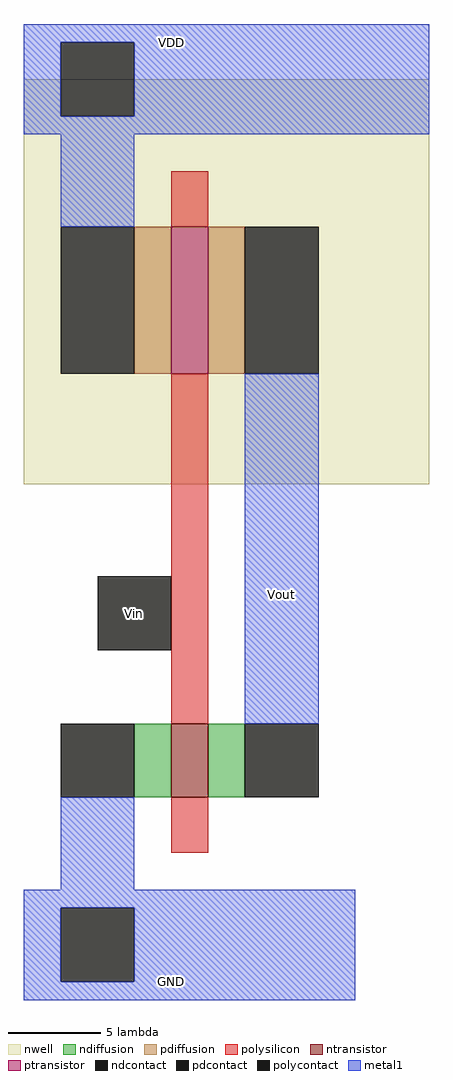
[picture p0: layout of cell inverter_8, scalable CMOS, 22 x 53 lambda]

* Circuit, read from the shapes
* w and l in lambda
.subckt inverter_8 GND VDD Vin Vout
M1 Vout Vin GND VSUBS nfet w=4 l=2
M2 Vout Vin VDD n1 pfet w=8 l=2
.ends

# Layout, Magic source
magic
tech scmos
<< nwell >>
rect -27 -25 -5 -3
<< polysilicon >>
rect -19 -11 -17 -8
rect -19 -38 -17 -19
rect -19 -45 -17 -42
<< ndiffusion >>
rect -21 -42 -19 -38
rect -17 -42 -15 -38
<< pdiffusion >>
rect -21 -19 -19 -11
rect -17 -19 -15 -11
<< metal1 >>
rect -27 -1 -5 0
rect -27 -5 -25 -1
rect -21 -5 -5 -1
rect -27 -6 -5 -5
rect -25 -11 -21 -6
rect -15 -38 -11 -19
rect -25 -47 -21 -42
rect -27 -48 -9 -47
rect -27 -52 -25 -48
rect -21 -52 -9 -48
rect -27 -53 -9 -52
<< ntransistor >>
rect -19 -42 -17 -38
<< ptransistor >>
rect -19 -19 -17 -11
<< polycontact >>
rect -23 -34 -19 -30
<< ndcontact >>
rect -25 -42 -21 -38
rect -15 -42 -11 -38
rect -25 -52 -21 -48
<< pdcontact >>
rect -25 -5 -21 -1
rect -25 -19 -21 -11
rect -15 -19 -11 -11
<< labels >>
rlabel metal1 -19 -1 -19 -1 5 VDD
rlabel metal1 -19 -52 -19 -52 1 GND
rlabel polycontact -21 -32 -21 -32 1 Vin
rlabel metal1 -13 -31 -13 -31 1 Vout
<< end >>
